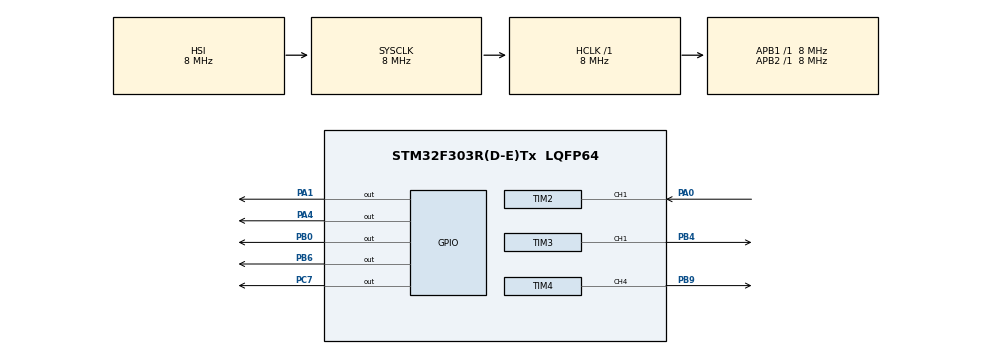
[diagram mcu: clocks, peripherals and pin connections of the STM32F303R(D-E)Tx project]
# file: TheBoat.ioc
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Mcu.Family=STM32F3
Mcu.Name=STM32F303R(D-E)Tx
Mcu.Package=LQFP64
NVIC.PriorityGroup=NVIC_PRIORITYGROUP_4
NVIC.TIM1_UP_TIM16_IRQn=true\:0\:0\:false\:false\:true\:true
NVIC.TIM2_IRQn=true\:0\:0\:false\:false\:true\:true
PA0.Signal=S_TIM2_CH1_ETR
PA1.Signal=GPIO_Output
PA4.Signal=GPIO_Output
PB0.Signal=GPIO_Output
PB4.Signal=S_TIM3_CH1
PB6.Signal=GPIO_Output
PB9.Signal=S_TIM4_CH4
PC7.Signal=GPIO_Output
ProjectManager.HeapSize=0x200
ProjectManager.StackSize=0x400
ProjectManager.TargetToolchain=TrueSTUDIO
RCC.AHBFreq_Value=8000000
RCC.APB1Freq_Value=8000000
RCC.APB2Freq_Value=8000000
RCC.CortexFreq_Value=8000000
RCC.HSE_VALUE=8000000
RCC.HSI_VALUE=8000000
RCC.LSE_VALUE=32768
RCC.SYSCLKFreq_VALUE=8000000
RCC.USBFreq_Value=16000000
SH.S_TIM2_CH1_ETR.0=TIM2_CH1,Input_Capture1_from_TI1
SH.S_TIM3_CH1.0=TIM3_CH1,PWM Generation1 CH1
SH.S_TIM4_CH4.0=TIM4_CH4,PWM Generation4 CH4
TIM1.Period=10
TIM1.Prescaler=7
TIM2.Channel-Input_Capture1_from_TI1=TIM_CHANNEL_1
TIM2.ICPolarity_CH1=TIM_INPUTCHANNELPOLARITY_BOTHEDGE
TIM2.Period=0xffffffff
TIM2.Prescaler=7
TIM3.Channel-PWM\ Generation1\ CH1=TIM_CHANNEL_1
TIM3.Period=100
TIM3.Prescaler=7
TIM4.Channel-PWM\ Generation4\ CH4=TIM_CHANNEL_4
VP_TIM1_VS_ClockSourceINT.Mode=Internal
board=TheBoat

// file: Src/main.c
/**
  ******************************************************************************
  * @file           : main.c
  * @brief          : Main program body
  ******************************************************************************
  ** This notice applies to any and all portions of this file
  * that are not between comment pairs USER CODE BEGIN and
  * USER CODE END. Other portions of this file, whether
  * inserted by the user or by software development tools
  * are owned by their respective copyright owners.
  *
  * COPYRIGHT(c) 2018 STMicroelectronics
  *
  * Redistribution and use in source and binary forms, with or without modification,
  * are permitted provided that the following conditions are met:
  *   1. Redistributions of source code must retain the above copyright notice,
  *      this list of conditions and the following disclaimer.
  *   2. Redistributions in binary form must reproduce the above copyright notice,
  *      this list of conditions and the following disclaimer in the documentation
  *      and/or other materials provided with the distribution.
  *   3. Neither the name of STMicroelectronics nor the names of its contributors
  *      may be used to endorse or promote products derived from this software
  *      without specific prior written permission.
  *
  * THIS SOFTWARE IS PROVIDED BY THE COPYRIGHT HOLDERS AND CONTRIBUTORS "AS IS"
  * AND ANY EXPRESS OR IMPLIED WARRANTIES, INCLUDING, BUT NOT LIMITED TO, THE
  * IMPLIED WARRANTIES OF MERCHANTABILITY AND FITNESS FOR A PARTICULAR PURPOSE ARE
  * DISCLAIMED. IN NO EVENT SHALL THE COPYRIGHT HOLDER OR CONTRIBUTORS BE LIABLE
  * FOR ANY DIRECT, INDIRECT, INCIDENTAL, SPECIAL, EXEMPLARY, OR CONSEQUENTIAL
  * DAMAGES (INCLUDING, BUT NOT LIMITED TO, PROCUREMENT OF SUBSTITUTE GOODS OR
  * SERVICES; LOSS OF USE, DATA, OR PROFITS; OR BUSINESS INTERRUPTION) HOWEVER
  * CAUSED AND ON ANY THEORY OF LIABILITY, WHETHER IN CONTRACT, STRICT LIABILITY,
  * OR TORT (INCLUDING NEGLIGENCE OR OTHERWISE) ARISING IN ANY WAY OUT OF THE USE
  * OF THIS SOFTWARE, EVEN IF ADVISED OF THE POSSIBILITY OF SUCH DAMAGE.
  *
  ******************************************************************************
  */
#include "main.h"
#include "stm32f3xx_hal.h"

TIM_HandleTypeDef htim1;
TIM_HandleTypeDef htim2;
TIM_HandleTypeDef htim3;
TIM_HandleTypeDef htim4;

/* USER CODE BEGIN PV */
/* Private variables ---------------------------------------------------------*/

/* USER CODE END PV */

void SystemClock_Config(void);
static void MX_GPIO_Init(void);
static void MX_TIM2_Init(void);
static void MX_TIM1_Init(void);
static void MX_TIM3_Init(void);
static void MX_TIM4_Init(void);

void HAL_TIM_MspPostInit(TIM_HandleTypeDef *htim);

/* USER CODE BEGIN PFP */
/* Private function prototypes -----------------------------------------------*/

/* USER CODE END PFP */

/* USER CODE BEGIN 0 */
int cnt1=6050;
double distance=0;
int T=0;
void HAL_PeriodElapsedCallback(TIM_HandleTypeDef *htim){
	if (htim->Instance==TIM1){
		if (cnt1<6050)
			cnt1++;
		else{
			HAL_TIM_Base_Stop_IC(&htim1);
			if (HAL_GPIO_ReadPin(GPIOA,GPIO_PIN_1)==0){
				HAL_GPIO_WritePin(GPIOA,GPIO_PIN_1,1);
				HAL_TIM_Base_Start_IC(&htim1);
			}
			else{
				HAL_GPIO_WritePin(GPIOA,GPIO_PIN_1,0);
				cnt1=0;
			}
		}
	}
}
void HAL_TIM_IC_CaptureCallback(TIM_HandleTypeDef *htim){
	if (htim->Instance==TIM2){
		if (HAL_GPIO_ReadPin(GPIOA,GPIO_PIN_1)==1)
			__HAL_TIM_SET_COUNTER(&htim2,0);
		else{
			T=__HAL_TIM_GET_COUNTER(&htim2);
			distance=T/(double)58;
			HAL_TIM_Base_Start_IT(&htim1);
		}
	}
}
/* USER CODE END 0 */

int main(void)
{

  /* MCU Configuration----------------------------------------------------------*/

  /* Reset of all peripherals, Initializes the Flash interface and the Systick. */
  HAL_Init();

  /* Configure the system clock */
  SystemClock_Config();

  /* Initialize all configured peripherals */
  MX_GPIO_Init();
  MX_TIM2_Init();
  MX_TIM1_Init();
  MX_TIM3_Init();
  MX_TIM4_Init();
  /* USER CODE BEGIN 2 */
  HAL_TIM_IC_Start_IT(&htim2,TIM_CHANNEL_1);
  HAL_TIM_Base_Start_IT(&htim1);
  HAL_TIM_PWM_Start_IT(&htim3,TIM_CHANNEL_1);	//right
  HAL_TIM_PWM_Start_IT(&htim4,TIM_CHANNEL_4);	//left
  TIM3->CCR1=0;
  TIM4->CCR1=0;

  /* USER CODE END 2 */

  /* Infinite loop */
  while (1)
  {

  /* USER CODE BEGIN 3 */
	  if (T>60){
		  //rightside sl
		  HAL_GPIO_WritePin(GPIOA,GPIO_PIN_4,0);	//1
		  HAL_GPIO_WritePin(GPIOC,GPIO_PIN_7,0);	//2
		  //leftside sl
		  HAL_GPIO_WritePin(GPIOB,GPIO_PIN_6,0);	//1
		  HAL_GPIO_WritePin(GPIOB,GPIO_PIN_0,0);	//2
		  TIM3->CCR1=100;
		  TIM4->CCR1=100;
	  }
	  else if (T<45){
		  //rightside sl
		  HAL_GPIO_WritePin(GPIOA,GPIO_PIN_4,0);	//1
		  HAL_GPIO_WritePin(GPIOC,GPIO_PIN_7,1);	//2
		  //leftside sl
		  HAL_GPIO_WritePin(GPIOB,GPIO_PIN_6,0);	//1
		  HAL_GPIO_WritePin(GPIOB,GPIO_PIN_0,1);	//2
		  for (int x=100;x--;x>0){
			  TIM3->CCR1=x;
			  TIM4->CCR1=x;
			  HAL_Delay(500);
		  }
	  }
  }
  /* USER CODE END 3 */

}

void SystemClock_Config(void)
{

  RCC_OscInitTypeDef RCC_OscInitStruct;
  RCC_ClkInitTypeDef RCC_ClkInitStruct;
  RCC_PeriphCLKInitTypeDef PeriphClkInit;

    /**Initializes the CPU, AHB and APB busses clocks
    */
  RCC_OscInitStruct.OscillatorType = RCC_OSCILLATORTYPE_HSI;
  RCC_OscInitStruct.HSIState = RCC_HSI_ON;
  RCC_OscInitStruct.HSICalibrationValue = 16;
  RCC_OscInitStruct.PLL.PLLState = RCC_PLL_NONE;
  if (HAL_RCC_OscConfig(&RCC_OscInitStruct) != HAL_OK)
  {
    _Error_Handler(__FILE__, __LINE__);
  }

    /**Initializes the CPU, AHB and APB busses clocks
    */
  RCC_ClkInitStruct.ClockType = RCC_CLOCKTYPE_HCLK|RCC_CLOCKTYPE_SYSCLK
                              |RCC_CLOCKTYPE_PCLK1|RCC_CLOCKTYPE_PCLK2;
  RCC_ClkInitStruct.SYSCLKSource = RCC_SYSCLKSOURCE_HSI;
  RCC_ClkInitStruct.AHBCLKDivider = RCC_SYSCLK_DIV1;
  RCC_ClkInitStruct.APB1CLKDivider = RCC_HCLK_DIV1;
  RCC_ClkInitStruct.APB2CLKDivider = RCC_HCLK_DIV1;

  if (HAL_RCC_ClockConfig(&RCC_ClkInitStruct, FLASH_LATENCY_0) != HAL_OK)
  {
    _Error_Handler(__FILE__, __LINE__);
  }

  PeriphClkInit.PeriphClockSelection = RCC_PERIPHCLK_TIM1|RCC_PERIPHCLK_TIM2
                              |RCC_PERIPHCLK_TIM34;
  PeriphClkInit.Tim1ClockSelection = RCC_TIM1CLK_HCLK;
  PeriphClkInit.Tim2ClockSelection = RCC_TIM2CLK_HCLK;
  PeriphClkInit.Tim34ClockSelection = RCC_TIM34CLK_HCLK;
  if (HAL_RCCEx_PeriphCLKConfig(&PeriphClkInit) != HAL_OK)
  {
    _Error_Handler(__FILE__, __LINE__);
  }

    /**Configure the Systick interrupt time
    */
  HAL_SYSTICK_Config(HAL_RCC_GetHCLKFreq()/1000);

    /**Configure the Systick
    */
  HAL_SYSTICK_CLKSourceConfig(SYSTICK_CLKSOURCE_HCLK);

  /* SysTick_IRQn interrupt configuration */
  HAL_NVIC_SetPriority(SysTick_IRQn, 0, 0);
}

/* TIM1 init function */
static void MX_TIM1_Init(void)
{

  TIM_ClockConfigTypeDef sClockSourceConfig;
  TIM_MasterConfigTypeDef sMasterConfig;

  htim1.Instance = TIM1;
  htim1.Init.Prescaler = 7;
  htim1.Init.CounterMode = TIM_COUNTERMODE_UP;
  htim1.Init.Period = 10;
  htim1.Init.ClockDivision = TIM_CLOCKDIVISION_DIV1;
  htim1.Init.RepetitionCounter = 0;
  htim1.Init.AutoReloadPreload = TIM_AUTORELOAD_PRELOAD_DISABLE;
  if (HAL_TIM_Base_Init(&htim1) != HAL_OK)
  {
    _Error_Handler(__FILE__, __LINE__);
  }

  sClockSourceConfig.ClockSource = TIM_CLOCKSOURCE_INTERNAL;
  if (HAL_TIM_ConfigClockSource(&htim1, &sClockSourceConfig) != HAL_OK)
  {
    _Error_Handler(__FILE__, __LINE__);
  }

  sMasterConfig.MasterOutputTrigger = TIM_TRGO_RESET;
  sMasterConfig.MasterOutputTrigger2 = TIM_TRGO2_RESET;
  sMasterConfig.MasterSlaveMode = TIM_MASTERSLAVEMODE_DISABLE;
  if (HAL_TIMEx_MasterConfigSynchronization(&htim1, &sMasterConfig) != HAL_OK)
  {
    _Error_Handler(__FILE__, __LINE__);
  }

}

/* TIM2 init function */
static void MX_TIM2_Init(void)
{

  TIM_MasterConfigTypeDef sMasterConfig;
  TIM_IC_InitTypeDef sConfigIC;

  htim2.Instance = TIM2;
  htim2.Init.Prescaler = 7;
  htim2.Init.CounterMode = TIM_COUNTERMODE_UP;
  htim2.Init.Period = 0xffffffff;
  htim2.Init.ClockDivision = TIM_CLOCKDIVISION_DIV1;
  htim2.Init.AutoReloadPreload = TIM_AUTORELOAD_PRELOAD_DISABLE;
  if (HAL_TIM_IC_Init(&htim2) != HAL_OK)
  {
    _Error_Handler(__FILE__, __LINE__);
  }

  sMasterConfig.MasterOutputTrigger = TIM_TRGO_RESET;
  sMasterConfig.MasterSlaveMode = TIM_MASTERSLAVEMODE_DISABLE;
  if (HAL_TIMEx_MasterConfigSynchronization(&htim2, &sMasterConfig) != HAL_OK)
  {
    _Error_Handler(__FILE__, __LINE__);
  }

  sConfigIC.ICPolarity = TIM_INPUTCHANNELPOLARITY_BOTHEDGE;
  sConfigIC.ICSelection = TIM_ICSELECTION_DIRECTTI;
  sConfigIC.ICPrescaler = TIM_ICPSC_DIV1;
  sConfigIC.ICFilter = 0;
  if (HAL_TIM_IC_ConfigChannel(&htim2, &sConfigIC, TIM_CHANNEL_1) != HAL_OK)
  {
    _Error_Handler(__FILE__, __LINE__);
  }

}

/* TIM3 init function */
static void MX_TIM3_Init(void)
{

  TIM_MasterConfigTypeDef sMasterConfig;
  TIM_OC_InitTypeDef sConfigOC;

  htim3.Instance = TIM3;
  htim3.Init.Prescaler = 7;
  htim3.Init.CounterMode = TIM_COUNTERMODE_UP;
  htim3.Init.Period = 100;
  htim3.Init.ClockDivision = TIM_CLOCKDIVISION_DIV1;
  htim3.Init.AutoReloadPreload = TIM_AUTORELOAD_PRELOAD_DISABLE;
  if (HAL_TIM_PWM_Init(&htim3) != HAL_OK)
  {
    _Error_Handler(__FILE__, __LINE__);
  }

  sMasterConfig.MasterOutputTrigger = TIM_TRGO_RESET;
  sMasterConfig.MasterSlaveMode = TIM_MASTERSLAVEMODE_DISABLE;
  if (HAL_TIMEx_MasterConfigSynchronization(&htim3, &sMasterConfig) != HAL_OK)
  {
    _Error_Handler(__FILE__, __LINE__);
  }

  sConfigOC.OCMode = TIM_OCMODE_PWM1;
  sConfigOC.Pulse = 0;
  sConfigOC.OCPolarity = TIM_OCPOLARITY_HIGH;
  sConfigOC.OCFastMode = TIM_OCFAST_DISABLE;
  if (HAL_TIM_PWM_ConfigChannel(&htim3, &sConfigOC, TIM_CHANNEL_1) != HAL_OK)
  {
    _Error_Handler(__FILE__, __LINE__);
  }

  HAL_TIM_MspPostInit(&htim3);

}

/* TIM4 init function */
static void MX_TIM4_Init(void)
{

  TIM_MasterConfigTypeDef sMasterConfig;
  TIM_OC_InitTypeDef sConfigOC;

  htim4.Instance = TIM4;
  htim4.Init.Prescaler = 0;
  htim4.Init.CounterMode = TIM_COUNTERMODE_UP;
  htim4.Init.Period = 0;
  htim4.Init.ClockDivision = TIM_CLOCKDIVISION_DIV1;
  htim4.Init.AutoReloadPreload = TIM_AUTORELOAD_PRELOAD_DISABLE;
  if (HAL_TIM_PWM_Init(&htim4) != HAL_OK)
  {
    _Error_Handler(__FILE__, __LINE__);
  }

  sMasterConfig.MasterOutputTrigger = TIM_TRGO_RESET;
  sMasterConfig.MasterSlaveMode = TIM_MASTERSLAVEMODE_DISABLE;
  if (HAL_TIMEx_MasterConfigSynchronization(&htim4, &sMasterConfig) != HAL_OK)
  {
    _Error_Handler(__FILE__, __LINE__);
  }

  sConfigOC.OCMode = TIM_OCMODE_PWM1;
  sConfigOC.Pulse = 0;
  sConfigOC.OCPolarity = TIM_OCPOLARITY_HIGH;
  sConfigOC.OCFastMode = TIM_OCFAST_DISABLE;
  if (HAL_TIM_PWM_ConfigChannel(&htim4, &sConfigOC, TIM_CHANNEL_4) != HAL_OK)
  {
    _Error_Handler(__FILE__, __LINE__);
  }

  HAL_TIM_MspPostInit(&htim4);

}

/** Configure pins as
        * Analog
        * Input
        * Output
        * EVENT_OUT
        * EXTI
*/
static void MX_GPIO_Init(void)
{

  GPIO_InitTypeDef GPIO_InitStruct;

  /* GPIO Ports Clock Enable */
  __HAL_RCC_GPIOA_CLK_ENABLE();
  __HAL_RCC_GPIOB_CLK_ENABLE();
  __HAL_RCC_GPIOC_CLK_ENABLE();

  /*Configure GPIO pin Output Level */
  HAL_GPIO_WritePin(GPIOA, GPIO_PIN_1|GPIO_PIN_4, GPIO_PIN_RESET);

  /*Configure GPIO pin Output Level */
  HAL_GPIO_WritePin(GPIOB, GPIO_PIN_0|GPIO_PIN_6, GPIO_PIN_RESET);

  /*Configure GPIO pin Output Level */
  HAL_GPIO_WritePin(GPIOC, GPIO_PIN_7, GPIO_PIN_RESET);

  /*Configure GPIO pins : PA1 PA4 */
  GPIO_InitStruct.Pin = GPIO_PIN_1|GPIO_PIN_4;
  GPIO_InitStruct.Mode = GPIO_MODE_OUTPUT_PP;
  GPIO_InitStruct.Pull = GPIO_NOPULL;
  GPIO_InitStruct.Speed = GPIO_SPEED_FREQ_LOW;
  HAL_GPIO_Init(GPIOA, &GPIO_InitStruct);

  /*Configure GPIO pins : PB0 PB6 */
  GPIO_InitStruct.Pin = GPIO_PIN_0|GPIO_PIN_6;
  GPIO_InitStruct.Mode = GPIO_MODE_OUTPUT_PP;
  GPIO_InitStruct.Pull = GPIO_NOPULL;
  GPIO_InitStruct.Speed = GPIO_SPEED_FREQ_LOW;
  HAL_GPIO_Init(GPIOB, &GPIO_InitStruct);

  /*Configure GPIO pin : PC7 */
  GPIO_InitStruct.Pin = GPIO_PIN_7;
  GPIO_InitStruct.Mode = GPIO_MODE_OUTPUT_PP;
  GPIO_InitStruct.Pull = GPIO_NOPULL;
  GPIO_InitStruct.Speed = GPIO_SPEED_FREQ_LOW;
  HAL_GPIO_Init(GPIOC, &GPIO_InitStruct);

}

void _Error_Handler(char *file, int line)
{
  while(1)
  {
  }
}

/************************ (C) COPYRIGHT STMicroelectronics *****END OF FILE****/
